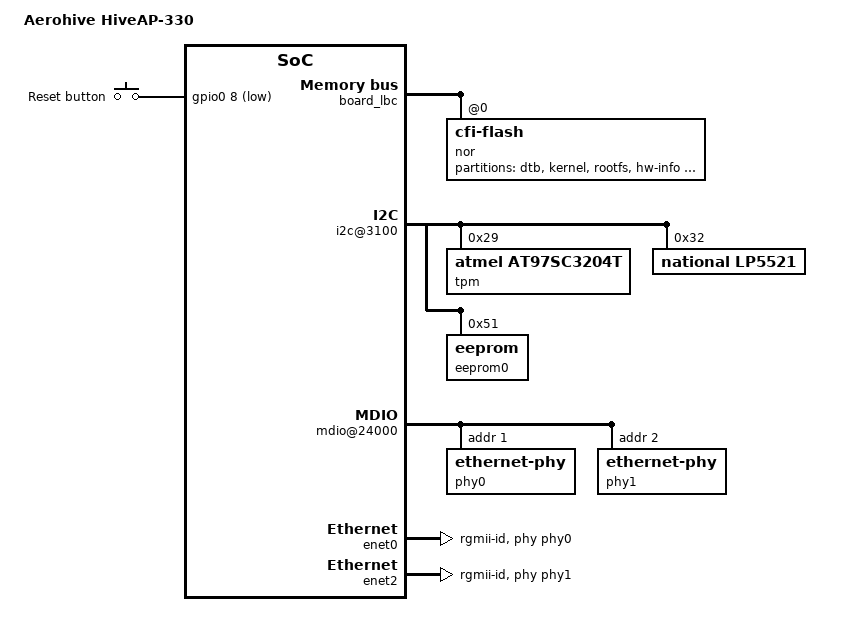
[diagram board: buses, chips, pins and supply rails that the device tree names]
/*
 * Aerohive HiveAP-330 Device Tree Source
 *
 * Copyright (C) 2017 Chris Blake <chrisrblake93@gmail.com>
 *
 * This program is free software; you can redistribute  it and/or modify it
 * under  the terms of  the GNU General  Public License as published by the
 * Free Software Foundation;  either version 2 of the  License, or (at your
 * option) any later version.
 */
#include <dt-bindings/leds/common.h>
/include/ "fsl/p1020si-pre.dtsi"
/ {
	model = "Aerohive HiveAP-330";
	compatible = "aerohive,hiveap-330";

	aliases {
		led-boot = &led_status_blue;
		led-failsafe = &led_status_red;
		led-running = &led_status_green;
		led-upgrade = &led_status_blue;
		label-mac-device = &enet0;
	};

	chosen {
		bootargs-override = "console=ttyS0,9600";
	};

	memory {
		device_type = "memory";
	};

	board_lbc: lbc: localbus@ffe05000 {
		reg = <0 0xffe05000 0 0x1000>;
		ranges = <0x0 0x0 0x0 0xec000000 0x4000000>;

		nor@0,0 {
			#address-cells = <1>;
			#size-cells = <1>;
			compatible = "cfi-flash";
			reg = <0x0 0x0 0x4000000>;
			bank-width = <2>;
			device-width = <1>;

			partitions {
				compatible = "fixed-partitions";
				#address-cells = <1>;
				#size-cells = <1>;

				partition@0 {
					reg = <0x0 0x40000>;
					label = "dtb";
				};

				partition@40000 {
					reg = <0x40000 0xbc0000>;
					label = "kernel";
				};

				partition@c00000 {
					reg = <0xc00000 0x3300000>;
					label = "rootfs";
				};

				hwinfo: partition@3f00000 {
					reg = <0x3f00000 0x20000>;
					label = "hw-info";
					read-only;
				};

				partition@3f20000 {
					reg = <0x3f20000 0x20000>;
					label = "boot-info";
					read-only;
				};

				partition@3f40000 {
					reg = <0x3f40000 0x20000>;
					label = "boot-info-backup";
					read-only;
				};

				partition@3f60000 {
					reg = <0x3f60000 0x20000>;
					label = "u-boot-env";
				};

				partition@3f80000 {
					reg = <0x3f80000 0x80000>;
					label = "u-boot";
					read-only;
				};

				firmware@0 {
					reg = <0x0 0x3f00000>;
					label = "firmware";
				};
			};
		};
	};

	board_soc: soc: soc@ffe00000 {
		ranges = <0x0 0x0 0xffe00000 0x100000>;

		i2c@3100 {
			tpm@29 {
				compatible = "atmel,at97sc3204t";
				reg = <0x29>;
			};

			led-controller@32 {
				compatible = "national,lp5521";
				reg = <0x32>;
				label = "lp5521";
				clock-mode = /bits/ 8 <2>;
				#address-cells = <1>;
				#size-cells = <0>;

				led_status_red: chan@0 {
					chan-name = "status:red";
					led-cur = /bits/ 8 <47>;
					max-cur = /bits/ 8 <95>;
					reg = <0x0>;
					color = <LED_COLOR_ID_RED>;
				};

				led_status_green: chan@1 {
					chan-name = "status:green";
					led-cur = /bits/ 8 <47>;
					max-cur = /bits/ 8 <95>;
					reg = <0x1>;
					color = <LED_COLOR_ID_GREEN>;
				};

				led_status_blue: chan@2 {
					chan-name = "status:blue";
					led-cur = /bits/ 8 <47>;
					max-cur = /bits/ 8 <95>;
					reg = <0x2>;
					color = <LED_COLOR_ID_BLUE>;
				};
			};

			/* Most likely SoC boot config */
			eeprom0: eeprom@51 {
				compatible = "eeprom";
				reg = <0x51>;
			};
		};

		mdio@24000 {
			phy0: ethernet-phy@0 {
				interrupts = <3 1 0 0>;
				reg = <0x1>;
			};

			phy1: ethernet-phy@1 {
				interrupts = <2 1 0 0>;
				reg = <0x2>;
			};
		};

		mdio@25000 {
			status = "disabled";
		};

		mdio@26000 {
			status = "disabled";
		};

		enet0: ethernet@b0000 {
			status = "okay";
			phy-handle = <&phy0>;
			phy-connection-type = "rgmii-id";
			nvmem-cells = <&macaddr_hwinfo_0>;
			nvmem-cell-names = "mac-address";
		};

		enet1: ethernet@b1000 {
			status = "disabled";
		};

		enet2: ethernet@b2000 {
			status = "okay";
			phy-handle = <&phy1>;
			phy-connection-type = "rgmii-id";
			nvmem-cells = <&macaddr_hwinfo_0>;
			nvmem-cell-names = "mac-address";
			mac-address-increment = <1>;
		};

		gpio0: gpio-controller@fc00 {
		};

		usb0: usb@22000 {
			phy_type = "ulpi";
			dr_mode = "host";
		};

		usb1: usb@23000 {
			status = "disabled";
		};
	};

	pci0: pcie@ffe09000 {
		reg = <0x0 0xffe09000 0x0 0x1000>;
		ranges = <0x2000000 0x0 0xa0000000 0x0 0xa0000000 0x0 0x20000000
			  0x1000000 0x0 0x00000000 0x0 0xffc30000 0x0 0x10000>;
		pcie@0 {
			ranges = <0x2000000 0x0 0xa0000000
				  0x2000000 0x0 0xa0000000
				  0x0 0x20000000

				  0x1000000 0x0 0x0
				  0x1000000 0x0 0x0
				  0x0 0x100000>;
		};
	};

	pci1: pcie@ffe0a000 {
		reg = <0x0 0xffe0a000 0x0 0x1000>;
		ranges = <0x2000000 0x0 0xc0000000 0x0 0xc0000000 0x0 0x20000000
			  0x1000000 0x0 0x00000000 0x0 0xffc20000 0x0 0x10000>;
		pcie@0 {
			ranges = <0x2000000 0x0 0xc0000000
				  0x2000000 0x0 0xc0000000
				  0x0 0x20000000

				  0x1000000 0x0 0x0
				  0x1000000 0x0 0x0
				  0x0 0x100000>;
		};
	};

	buttons {
		compatible = "gpio-keys";

		reset {
			label = "Reset button";
			gpios = <&gpio0 8 1>; /* active low */
			linux,code = <0x198>; /* KEY_RESTART */
		};
	};
};
/include/ "fsl/p1020si-post.dtsi"

&hwinfo {
	compatible = "nvmem-cells";
	#address-cells = <1>;
	#size-cells = <1>;

	macaddr_hwinfo_0: macaddr@0 {
		reg = <0x0 0x6>;
	};
};
